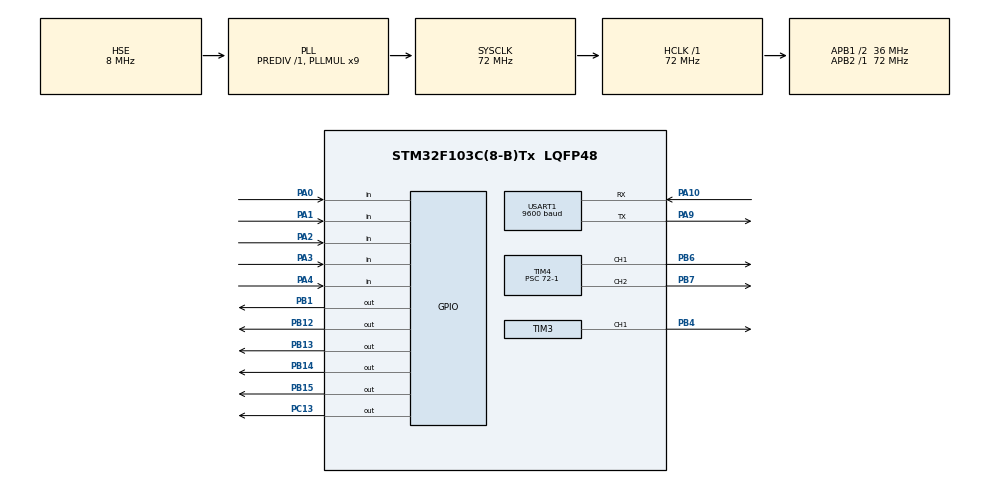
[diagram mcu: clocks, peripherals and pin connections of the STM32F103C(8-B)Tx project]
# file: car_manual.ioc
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Mcu.Family=STM32F1
Mcu.Name=STM32F103C(8-B)Tx
Mcu.Package=LQFP48
NVIC.PriorityGroup=NVIC_PRIORITYGROUP_4
NVIC.TIM2_IRQn=true\:0\:0\:false\:false\:true\:true\:true\:true
NVIC.TIM3_IRQn=true\:0\:0\:false\:false\:true\:true\:true\:true
NVIC.USART1_IRQn=true\:0\:0\:false\:false\:true\:true\:true\:true
PA0-WKUP.Signal=GPIO_Input
PA1.Signal=GPIO_Input
PA10.Mode=Asynchronous
PA10.Signal=USART1_RX
PA13.Mode=Serial_Wire
PA13.Signal=SYS_JTMS-SWDIO
PA14.Mode=Serial_Wire
PA14.Signal=SYS_JTCK-SWCLK
PA2.Signal=GPIO_Input
PA3.Signal=GPIO_Input
PA4.Signal=GPIO_Input
PA9.Mode=Asynchronous
PA9.Signal=USART1_TX
PB1.Signal=GPIO_Output
PB12.Signal=GPIO_Output
PB13.Signal=GPIO_Output
PB14.Signal=GPIO_Output
PB15.Signal=GPIO_Output
PB4.Signal=S_TIM3_CH1
PB6.Signal=S_TIM4_CH1
PB7.Signal=S_TIM4_CH2
PC13-TAMPER-RTC.Signal=GPIO_Output
PD0-OSC_IN.Mode=HSE-External-Oscillator
PD0-OSC_IN.Signal=RCC_OSC_IN
PD1-OSC_OUT.Mode=HSE-External-Oscillator
PD1-OSC_OUT.Signal=RCC_OSC_OUT
ProjectManager.HeapSize=0x200
ProjectManager.StackSize=0x400
ProjectManager.TargetToolchain=STM32CubeIDE
RCC.AHBFreq_Value=72000000
RCC.APB1CLKDivider=RCC_HCLK_DIV2
RCC.APB1Freq_Value=36000000
RCC.APB1TimFreq_Value=72000000
RCC.APB2Freq_Value=72000000
RCC.APB2TimFreq_Value=72000000
RCC.HCLKFreq_Value=72000000
RCC.PLLMUL=RCC_PLL_MUL9
RCC.PLLSourceVirtual=RCC_PLLSOURCE_HSE
RCC.SYSCLKFreq_VALUE=72000000
RCC.SYSCLKSource=RCC_SYSCLKSOURCE_PLLCLK
RCC.USBFreq_Value=72000000
SH.S_TIM3_CH1.0=TIM3_CH1,PWM Generation1 CH1
SH.S_TIM4_CH1.0=TIM4_CH1,PWM Generation1 CH1
SH.S_TIM4_CH2.0=TIM4_CH2,PWM Generation2 CH2
TIM2.Period=499
TIM2.Prescaler=720-1
TIM3.Channel-PWM\ Generation1\ CH1=TIM_CHANNEL_1
TIM3.Period=20000-1
TIM3.Prescaler=72-1
TIM4.Channel-PWM\ Generation1\ CH1=TIM_CHANNEL_1
TIM4.Channel-PWM\ Generation2\ CH2=TIM_CHANNEL_2
TIM4.Period=100-1
TIM4.Prescaler=72-1
USART1.BaudRate=9600
USART1.VirtualMode=VM_ASYNC
VP_TIM2_VS_ClockSourceINT.Mode=Internal
VP_TIM3_VS_ClockSourceINT.Mode=Internal
board=custom

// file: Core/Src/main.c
/* USER CODE BEGIN Header */
/**
  ******************************************************************************
  * @file           : main.c
  * @brief          : Main program body for line-following robot
  ******************************************************************************
  * @attention
  *
  * Copyright (c) 2025 STMicroelectronics.
  * All rights reserved.
  *
  * This software is licensed under terms that can be found in the LICENSE file
  * in the root directory of this software component.
  * If no LICENSE file comes with this software component, it is provided AS-IS.
  *
  ******************************************************************************
  */
/* USER CODE END Header */
#include "main.h"

/* USER CODE BEGIN Includes */
#include <math.h>

/* USER CODE END Includes */

/* USER CODE BEGIN PD */
#define SENSOR_COUNT 5
#define MAX_SPEED 100    // Maximum speed
/* USER CODE END PD */

TIM_HandleTypeDef htim2;
TIM_HandleTypeDef htim3;
TIM_HandleTypeDef htim4;

UART_HandleTypeDef huart1;

/* USER CODE BEGIN PV */
int weights[5] = {-4, -2, 0, 2, 4}; // Define weights (in mm) for 5 sensors: left to right
float Kp = 2.5;                     // Proportional gain
float Ki = 0.001;                     // Integral gain
float Kd = 0.5;                    // Derivative gain
float dt = 0.005;                   // Time delta (seconds) — adjust to your system
float d = 10.0;                     // Distance between position readings (in mm)
float previous_error = 0;           // Previous error for derivative control
float integral = 0;                 // Accumulated error for integral control
float previous_position = 0;        // Previous position for heading angle
int intersection_count=0;
int grab_count=0;
int has_grabbed = 0; // Global flag to track if grab has occurred
int current_case = 0; // 0 = Case 0, 1 = Case 1, 2 = Case 2, etc.
int sensor_count = 0; // Count how many times all 5 sensors are detected in Case 1

uint8_t sensor_values[SENSOR_COUNT]; // Array to store sensor readings

float x =0;//lateral position
float u =0; //control output
int pwmL =0;
int pwmR=0;
int basespeed=0;

int j=0; // Line-loss

// UART-related variables
uint8_t rx_data;         // Received UART data
uint8_t last_command = 0;// Last received command

uint8_t uto = 'U';       // Mode control: 'U' for auto, 'u' for manual
char grip = 0;           // Gripper state: 'W' for close, 'w' for open
int speed_level = 7;     // Speed level (0-9) for manual mode

static int case1_delay_count = 0;
static int case2_stopped = 0;
static int case2_ignore_count = 0;
static int case2_post_stop_state = 0;
static int case2_post_action_count = 0;
static int case3_has_grabbed = 0;
static int turn_state = 0;
static int turn_count = 0;
static int case3_stopped = 0;
static int case3_ignore_count = 0;
static int case3_post_stop_state = 0;
static int case3_post_action_count = 0;

int caseF_active = 0;     // Flag to track if CaseF is active
int caseF_end_condition = 0; // Flag to track when CaseF should end

// New global variables for Case0 forward push
int case0_initial_push_count = 0; // Counter for initial forward push in Case0
int case0_initial_push_done = 0;  // Flag to track if initial push is complete in Case0

// New global variable for Case1 forward push
int case1_push_after_grab_done = 0; // Flag to track if forward push after grab is done

// New global variable for Case3 forward push
int case3_push_after_grab_count = 0; // Counter for forward push after grab in Case3

int case2_reset_active = 0; // Flag to track if Case2Reset is active

/* USER CODE END PV */

void SystemClock_Config(void);
static void MX_GPIO_Init(void);
static void MX_TIM4_Init(void);
static void MX_USART1_UART_Init(void);
static void MX_TIM3_Init(void);
static void MX_TIM2_Init(void);
/* USER CODE BEGIN PFP */
void set_left_motor(int speed);
void set_right_motor(int speed);
void read_sensors();
float compute_position();
float compute_pid(float error);
float compute_heading(float x_now);
void Set_Servo_Angle(uint8_t angle);
void motor_ctr(int speedL, int speedR);
void followLine(void);
void followLine_Case0(void);
void followLine_Case1(void);
void followLine_Case2(void);
void followLine_Case3(void);
/* USER CODE END PFP */

/* USER CODE BEGIN 0 */
void Set_Servo_Angle(uint8_t angle)
{
  // Map 0–180° to 500–2500us (pulse width in timer counts)
  uint16_t pulse_width = 500 + ((angle * 2000) / 180);
  __HAL_TIM_SET_COMPARE(&htim3, TIM_CHANNEL_1, pulse_width);  // Set PWM pulse width
}

/* USER CODE END 0 */

int main(void)
{

  /* MCU Configuration--------------------------------------------------------*/

  /* Reset of all peripherals, Initializes the Flash interface and the Systick. */
  HAL_Init();

  /* Configure the system clock */
  SystemClock_Config();

  /* Initialize all configured peripherals */
  MX_GPIO_Init();
  MX_TIM4_Init();
  MX_USART1_UART_Init();
  MX_TIM3_Init();
  MX_TIM2_Init();
  /* USER CODE BEGIN 2 */
  HAL_TIM_PWM_Start(&htim4, TIM_CHANNEL_1);
  HAL_TIM_PWM_Start(&htim4, TIM_CHANNEL_2);
  HAL_TIM_PWM_Start(&htim3, TIM_CHANNEL_1); // Start PWM for servo

  HAL_TIM_Base_Start_IT(&htim2);
  HAL_UART_Receive_IT(&huart1, &rx_data, 1); // Enable UART interrupt
  HAL_GPIO_WritePin(GPIOB, GPIO_PIN_1, 1);
  /* USER CODE END 2 */

  /* Infinite loop */
  while (1)
  {

  }
}

void SystemClock_Config(void)
{
  RCC_OscInitTypeDef RCC_OscInitStruct = {0};
  RCC_ClkInitTypeDef RCC_ClkInitStruct = {0};

  /** Initializes the RCC Oscillators according to the specified parameters
  * in the RCC_OscInitTypeDef structure.
  */
  RCC_OscInitStruct.OscillatorType = RCC_OSCILLATORTYPE_HSE;
  RCC_OscInitStruct.HSEState = RCC_HSE_ON;
  RCC_OscInitStruct.HSEPredivValue = RCC_HSE_PREDIV_DIV1;
  RCC_OscInitStruct.HSIState = RCC_HSI_ON;
  RCC_OscInitStruct.PLL.PLLState = RCC_PLL_ON;
  RCC_OscInitStruct.PLL.PLLSource = RCC_PLLSOURCE_HSE;
  RCC_OscInitStruct.PLL.PLLMUL = RCC_PLL_MUL9;
  if (HAL_RCC_OscConfig(&RCC_OscInitStruct) != HAL_OK)
  {
    Error_Handler();
  }

  /** Initializes the CPU, AHB and APB buses clocks
  */
  RCC_ClkInitStruct.ClockType = RCC_CLOCKTYPE_HCLK|RCC_CLOCKTYPE_SYSCLK
                              |RCC_CLOCKTYPE_PCLK1|RCC_CLOCKTYPE_PCLK2;
  RCC_ClkInitStruct.SYSCLKSource = RCC_SYSCLKSOURCE_PLLCLK;
  RCC_ClkInitStruct.AHBCLKDivider = RCC_SYSCLK_DIV1;
  RCC_ClkInitStruct.APB1CLKDivider = RCC_HCLK_DIV2;
  RCC_ClkInitStruct.APB2CLKDivider = RCC_HCLK_DIV1;

  if (HAL_RCC_ClockConfig(&RCC_ClkInitStruct, FLASH_LATENCY_2) != HAL_OK)
  {
    Error_Handler();
  }
}

static void MX_TIM2_Init(void)
{

  TIM_ClockConfigTypeDef sClockSourceConfig = {0};
  TIM_MasterConfigTypeDef sMasterConfig = {0};

  htim2.Instance = TIM2;
  htim2.Init.Prescaler = 720-1;
  htim2.Init.CounterMode = TIM_COUNTERMODE_UP;
  htim2.Init.Period = 499;
  htim2.Init.ClockDivision = TIM_CLOCKDIVISION_DIV1;
  htim2.Init.AutoReloadPreload = TIM_AUTORELOAD_PRELOAD_DISABLE;
  if (HAL_TIM_Base_Init(&htim2) != HAL_OK)
  {
    Error_Handler();
  }
  sClockSourceConfig.ClockSource = TIM_CLOCKSOURCE_INTERNAL;
  if (HAL_TIM_ConfigClockSource(&htim2, &sClockSourceConfig) != HAL_OK)
  {
    Error_Handler();
  }
  sMasterConfig.MasterOutputTrigger = TIM_TRGO_RESET;
  sMasterConfig.MasterSlaveMode = TIM_MASTERSLAVEMODE_DISABLE;
  if (HAL_TIMEx_MasterConfigSynchronization(&htim2, &sMasterConfig) != HAL_OK)
  {
    Error_Handler();
  }

}

static void MX_TIM3_Init(void)
{

  TIM_ClockConfigTypeDef sClockSourceConfig = {0};
  TIM_MasterConfigTypeDef sMasterConfig = {0};
  TIM_OC_InitTypeDef sConfigOC = {0};

  htim3.Instance = TIM3;
  htim3.Init.Prescaler = 72-1;
  htim3.Init.CounterMode = TIM_COUNTERMODE_UP;
  htim3.Init.Period = 20000-1;
  htim3.Init.ClockDivision = TIM_CLOCKDIVISION_DIV1;
  htim3.Init.AutoReloadPreload = TIM_AUTORELOAD_PRELOAD_DISABLE;
  if (HAL_TIM_Base_Init(&htim3) != HAL_OK)
  {
    Error_Handler();
  }
  sClockSourceConfig.ClockSource = TIM_CLOCKSOURCE_INTERNAL;
  if (HAL_TIM_ConfigClockSource(&htim3, &sClockSourceConfig) != HAL_OK)
  {
    Error_Handler();
  }
  if (HAL_TIM_PWM_Init(&htim3) != HAL_OK)
  {
    Error_Handler();
  }
  sMasterConfig.MasterOutputTrigger = TIM_TRGO_RESET;
  sMasterConfig.MasterSlaveMode = TIM_MASTERSLAVEMODE_DISABLE;
  if (HAL_TIMEx_MasterConfigSynchronization(&htim3, &sMasterConfig) != HAL_OK)
  {
    Error_Handler();
  }
  sConfigOC.OCMode = TIM_OCMODE_PWM1;
  sConfigOC.Pulse = 0;
  sConfigOC.OCPolarity = TIM_OCPOLARITY_HIGH;
  sConfigOC.OCFastMode = TIM_OCFAST_DISABLE;
  if (HAL_TIM_PWM_ConfigChannel(&htim3, &sConfigOC, TIM_CHANNEL_1) != HAL_OK)
  {
    Error_Handler();
  }
  HAL_TIM_MspPostInit(&htim3);

}

static void MX_TIM4_Init(void)
{

  TIM_MasterConfigTypeDef sMasterConfig = {0};
  TIM_OC_InitTypeDef sConfigOC = {0};

  htim4.Instance = TIM4;
  htim4.Init.Prescaler = 72-1;
  htim4.Init.CounterMode = TIM_COUNTERMODE_UP;
  htim4.Init.Period = 100-1;
  htim4.Init.ClockDivision = TIM_CLOCKDIVISION_DIV1;
  htim4.Init.AutoReloadPreload = TIM_AUTORELOAD_PRELOAD_DISABLE;
  if (HAL_TIM_PWM_Init(&htim4) != HAL_OK)
  {
    Error_Handler();
  }
  sMasterConfig.MasterOutputTrigger = TIM_TRGO_RESET;
  sMasterConfig.MasterSlaveMode = TIM_MASTERSLAVEMODE_DISABLE;
  if (HAL_TIMEx_MasterConfigSynchronization(&htim4, &sMasterConfig) != HAL_OK)
  {
    Error_Handler();
  }
  sConfigOC.OCMode = TIM_OCMODE_PWM1;
  sConfigOC.Pulse = 0;
  sConfigOC.OCPolarity = TIM_OCPOLARITY_HIGH;
  sConfigOC.OCFastMode = TIM_OCFAST_DISABLE;
  if (HAL_TIM_PWM_ConfigChannel(&htim4, &sConfigOC, TIM_CHANNEL_1) != HAL_OK)
  {
    Error_Handler();
  }
  if (HAL_TIM_PWM_ConfigChannel(&htim4, &sConfigOC, TIM_CHANNEL_2) != HAL_OK)
  {
    Error_Handler();
  }
  HAL_TIM_MspPostInit(&htim4);

}

static void MX_USART1_UART_Init(void)
{

  huart1.Instance = USART1;
  huart1.Init.BaudRate = 9600;
  huart1.Init.WordLength = UART_WORDLENGTH_8B;
  huart1.Init.StopBits = UART_STOPBITS_1;
  huart1.Init.Parity = UART_PARITY_NONE;
  huart1.Init.Mode = UART_MODE_TX_RX;
  huart1.Init.HwFlowCtl = UART_HWCONTROL_NONE;
  huart1.Init.OverSampling = UART_OVERSAMPLING_16;
  if (HAL_UART_Init(&huart1) != HAL_OK)
  {
    Error_Handler();
  }

}

static void MX_GPIO_Init(void)
{
  GPIO_InitTypeDef GPIO_InitStruct = {0};

  /* GPIO Ports Clock Enable */
  __HAL_RCC_GPIOC_CLK_ENABLE();
  __HAL_RCC_GPIOD_CLK_ENABLE();
  __HAL_RCC_GPIOA_CLK_ENABLE();
  __HAL_RCC_GPIOB_CLK_ENABLE();

  /*Configure GPIO pin Output Level */
  HAL_GPIO_WritePin(GPIOC, GPIO_PIN_13, GPIO_PIN_RESET);

  /*Configure GPIO pin Output Level */
  HAL_GPIO_WritePin(GPIOB, GPIO_PIN_1|GPIO_PIN_12|GPIO_PIN_13|GPIO_PIN_14
                          |GPIO_PIN_15, GPIO_PIN_RESET);

  /*Configure GPIO pin : PC13 */
  GPIO_InitStruct.Pin = GPIO_PIN_13;
  GPIO_InitStruct.Mode = GPIO_MODE_OUTPUT_PP;
  GPIO_InitStruct.Pull = GPIO_NOPULL;
  GPIO_InitStruct.Speed = GPIO_SPEED_FREQ_LOW;
  HAL_GPIO_Init(GPIOC, &GPIO_InitStruct);

  /*Configure GPIO pins : PA0 PA1 PA2 PA3
                           PA4 */
  GPIO_InitStruct.Pin = GPIO_PIN_0|GPIO_PIN_1|GPIO_PIN_2|GPIO_PIN_3
                          |GPIO_PIN_4;
  GPIO_InitStruct.Mode = GPIO_MODE_INPUT;
  GPIO_InitStruct.Pull = GPIO_NOPULL;
  HAL_GPIO_Init(GPIOA, &GPIO_InitStruct);

  /*Configure GPIO pins : PB1 PB12 PB13 PB14
                           PB15 */
  GPIO_InitStruct.Pin = GPIO_PIN_1|GPIO_PIN_12|GPIO_PIN_13|GPIO_PIN_14
                          |GPIO_PIN_15;
  GPIO_InitStruct.Mode = GPIO_MODE_OUTPUT_PP;
  GPIO_InitStruct.Pull = GPIO_NOPULL;
  GPIO_InitStruct.Speed = GPIO_SPEED_FREQ_LOW;
  HAL_GPIO_Init(GPIOB, &GPIO_InitStruct);

}

/* USER CODE BEGIN 4 */
/**
  * @brief Set speed and direction for the left motor
  * @param speed: Speed value (-95 to 95). Positive for forward, negative for backward.
  * @retval None
  */
void set_left_motor(int speed)
{
  speed = (speed > MAX_SPEED) ? MAX_SPEED : (speed < -MAX_SPEED/2) ? -MAX_SPEED/2 : speed;
  TIM4->CCR2 = (speed >= 0) ? (uint32_t)speed : (uint32_t)(-speed);
  HAL_GPIO_WritePin(GPIOB, GPIO_PIN_12, (speed > 0) ? GPIO_PIN_SET : GPIO_PIN_RESET);
  HAL_GPIO_WritePin(GPIOB, GPIO_PIN_13, (speed < 0) ? GPIO_PIN_SET : GPIO_PIN_RESET);
}

/**
  * @brief Set speed and direction for the right motor
  * @param speed: Speed value (-95 to 95). Positive for forward, negative for backward.
  * @retval None
  */
void set_right_motor(int speed)
{
  speed = (speed > MAX_SPEED) ? MAX_SPEED : (speed < -MAX_SPEED/2) ? -MAX_SPEED/2 : speed;
  TIM4->CCR1 = (speed >= 0) ? (uint32_t)speed : (uint32_t)(-speed);
  HAL_GPIO_WritePin(GPIOB, GPIO_PIN_14, (speed > 0) ? GPIO_PIN_SET : GPIO_PIN_RESET);
  HAL_GPIO_WritePin(GPIOB, GPIO_PIN_15, (speed < 0) ? GPIO_PIN_SET : GPIO_PIN_RESET);
}

void motor_ctr(int speedL, int speedR)
{
  set_right_motor(speedR);
  set_left_motor(speedL);
}

/**
  * @brief Read sensor states
  * @retval None
  */
void read_sensors(void)
{
  sensor_values[0] = !HAL_GPIO_ReadPin(GPIOA, GPIO_PIN_0);
  sensor_values[1] = !HAL_GPIO_ReadPin(GPIOA, GPIO_PIN_1);
  sensor_values[2] = !HAL_GPIO_ReadPin(GPIOA, GPIO_PIN_2);
  sensor_values[3] = !HAL_GPIO_ReadPin(GPIOA, GPIO_PIN_3);
  sensor_values[4] = !HAL_GPIO_ReadPin(GPIOA, GPIO_PIN_4);

  if (sensor_values[0] == 1) {
    j = 1;
  }
  else if (sensor_values[4] == 1) {
    j = 2;
  }

  if (j == 1) {
    sensor_values[0] = 1;
  }
  else if (j == 2) {
    sensor_values[4] = 1;
  }
  if (sensor_values[1] == 1 || sensor_values[2] == 1 || sensor_values[3] == 1) {
    j = 0;
  }
}

/**
  * @brief Compute lateral position
  * @retval float: Position in mm
  */
float compute_position()
{
  int sum_s = 0;
  int weighted_sum = 0;

  for (int i = 0; i < 5; i++) {
    sum_s += sensor_values[i];
    weighted_sum += sensor_values[i] * weights[i];
  }

  if (sum_s == 0)
    return 0.0; // No line detected, assume center or trigger fail-safe

  return (float)weighted_sum / sum_s;
}

/**
  * @brief Compute PID control output
  * @param error: Current error
  * @retval float: PID control output
  */
float compute_pid(float error)
{
  integral += error * dt;
  float derivative = (error - previous_error) / dt;
  float output = Kp * error + Ki * integral + Kd * derivative;
  previous_error = error;
  return output;
}

/**
  * @brief Compute heading angle
  * @param x_now: Current position
  * @retval float: Heading angle in radians
  */
float compute_heading(float x_now)
{
  float Q = (x_now - previous_position) / d;
  previous_position = x_now;
  return Q; // in radians (approximation)
}

void followLine(void)
{
  x = compute_position();
  u = compute_pid(x);
  if (fabs(x) < 1) {
    basespeed = 55;
  }
  else if (fabs(x) <= 2) {
    basespeed = 40;
  }
  else if (fabs(x) <= 4) {
    basespeed = 20;
  }
  pwmL = basespeed + u;
  pwmR = basespeed - u;
  motor_ctr(pwmL, pwmR);
}

void followLine_Case0(void)
{

	Set_Servo_Angle(40);

	// Step 2: Initial forward push for 200ms (40 cycles at 5ms)
	    if (!case0_initial_push_done) {
	        pwmL = 50; // Fixed speed for forward push
	        pwmR = 50;
	        motor_ctr(pwmL, pwmR);
	        case0_initial_push_count++;
	        if (case0_initial_push_count >= 40) { // 200ms / 5ms = 40 cycles
	            case0_initial_push_done = 1; // Mark push as complete
	            case0_initial_push_count = 0; // Reset counter for potential reuse
	        }
	        return; // Exit function until push is complete
	    }

  x = compute_position();
  u = compute_pid(x);
  if (fabs(x) < 1) {
    basespeed = 55;
  } else if (fabs(x) <= 2) {
    basespeed = 37;
  } else if (fabs(x) <= 4) {
    basespeed = 25
    		;
  }

  int sensor_sum = sensor_values[0] + sensor_values[1] + sensor_values[2] + sensor_values[3] + sensor_values[4];
  if (!has_grabbed) {
    if (sensor_values[0] == 1 && sensor_values[1] == 1 && sensor_values[2] == 1 && sensor_values[3] == 1) {
      Set_Servo_Angle(0); // Grab to 0°
      has_grabbed = 1;    // Prevent further servo commands
      current_case = 1;
    } else if (sensor_values[4] == 1 && sensor_values[3] == 1 && sensor_values[2] == 1 && sensor_values[1] == 1) {
      Set_Servo_Angle(0); // Grab to 0°
      has_grabbed = 1;    // Prevent further servo commands
      current_case = 1;
    } else if (sensor_sum == 5 && sensor_values[2] == 1) { // Ensure center sensor is off too
      Set_Servo_Angle(0); // Grab to 0°
      has_grabbed = 1;    // Prevent further servo commands
      current_case = 1;
    }
  }

  pwmL = basespeed + u;
  pwmR = basespeed - u;
  motor_ctr(pwmL, pwmR);
}

void followLine_Case1(void)
{

  // Set new PID values for Case 1
  Kp = 15;
  Ki = 0.0;
  Kd = 0.0;
  // Reset PID state
  integral = 0;
  previous_error = 0;

  // Step 1: Forward push for 200ms (40 cycles at 5ms) after grabbing
      if (!case1_push_after_grab_done) {
          if (case1_delay_count < 110) {
              pwmL = 30; // Fixed speed for forward push
              pwmR = 30;
              motor_ctr(pwmL, pwmR);
              case1_delay_count++;
              return; // Exit until push is complete
          } else {
              case1_push_after_grab_done = 1; // Mark push as complete
              case1_delay_count = 0; // Reset counter for next phase
          }
      }

  x = compute_position();
  u = compute_pid(x);
  if (fabs(x) < 1) {
    basespeed = 40;
  } else if (fabs(x) <= 2) {
    basespeed = 38;
  } else if (fabs(x) <= 4) {
    basespeed = 40;
  }

  int sensor_sum = sensor_values[0] + sensor_values[1] + sensor_values[2] + sensor_values[3] + sensor_values[4];

  // Ignore sensor_sum == 5 for 500ms (100 cycles * 5ms)
  if (case1_delay_count < 100) {
	  case1_delay_count++;
  } else if (sensor_sum == 4) {
    current_case = 2;  // Move to Case 2 when all sensors detect the line
  }

  pwmL = basespeed + u;
  pwmR = basespeed - u;
  motor_ctr(pwmL, pwmR);
}

// Modified followLine_Case2 function
void followLine_Case2(void)
{
  if (!case2_stopped) {
    Kp = 2.5;
    Ki = 0.0;
    Kd = 0.0;
    integral = 0;
    previous_error = 0;

    x = compute_position();
    u = compute_pid(x);
    if (fabs(x) < 1) {
      basespeed = 40;
    } else if (fabs(x) <= 2) {
      basespeed = 40;
    } else if (fabs(x) <= 4) {
      basespeed = 40;
    }

    int sensor_sum = sensor_values[0] + sensor_values[1] + sensor_values[2] + sensor_values[3] + sensor_values[4];

    if (case2_ignore_count < 40) {
      case2_ignore_count++;
      pwmL = basespeed + u;
      pwmR = basespeed - u;
      motor_ctr(pwmL, pwmR);
    } else {
      if (sensor_sum == 5 && !case2_stopped) {
        case2_stopped = 1;
        pwmL = 0;
        pwmR = 0;
        motor_ctr(pwmL, pwmR);
        case2_post_stop_state = 1;
        case2_post_action_count = 0;
      } else if (!case2_stopped) {
        pwmL = basespeed + u;
        pwmR = basespeed - u;
        motor_ctr(pwmL, pwmR);
      }
    }
  } else {
    if (case2_post_stop_state == 1) {
      pwmL = 25;
      pwmR = 25;
      motor_ctr(pwmL, pwmR);
      case2_post_action_count++;
      if (case2_post_action_count >= 70) {
        case2_post_stop_state = 2;
        case2_post_action_count = 0;
        pwmL = 0;
        pwmR = 0;
        motor_ctr(pwmL, pwmR);
      }
    } else if (case2_post_stop_state == 2) {
      Set_Servo_Angle(40);
      case2_post_action_count++;
      if (case2_post_action_count >= 20) {
        case2_post_stop_state = 3;
        case2_post_action_count = 0;
      }
    } else if (case2_post_stop_state == 3) {
      pwmL = -35;
      pwmR = -35;
      motor_ctr(pwmL, pwmR);
      case2_post_action_count++;
      if (case2_post_action_count >= 145) {
        case2_post_stop_state = 4;
        case2_post_action_count = 0;
        pwmL = 0;
        pwmR = 0;
        motor_ctr(pwmL, pwmR);
      }
    } else if (case2_post_stop_state == 4) {
      pwmL = 70;
      pwmR = 30;
      motor_ctr(pwmL, pwmR);
      case2_post_action_count++;
      if (case2_post_action_count >= 100) {
        case2_post_stop_state = 5;
        current_case = 3;
        pwmL = 0;
        pwmR = 0;
        motor_ctr(pwmL, pwmR);
      }
    }
  }
}

void followLine_Case2Reset(void)
{
//	Set_Servo_Angle(0);
  if (!case2_stopped) {
    Kp = 2.5;
    Ki = 0.0;
    Kd = 0.0;
    integral = 0;
    previous_error = 0;

    x = compute_position();
    u = compute_pid(x);
    if (fabs(x) < 1) {
      basespeed = 40;
    } else if (fabs(x) <= 2) {
      basespeed = 40;
    } else if (fabs(x) <= 4) {
      basespeed = 40;
    }

    int sensor_sum = sensor_values[0] + sensor_values[1] + sensor_values[2] + sensor_values[3] + sensor_values[4];

    if (case2_ignore_count < 50) {
      case2_ignore_count++;
      pwmL = basespeed + u;
      pwmR = basespeed - u;
      motor_ctr(pwmL, pwmR);
    } else {
      if (sensor_sum == 5 && !case2_stopped) {
        case2_stopped = 1;
        pwmL = 0;
        pwmR = 0;
        motor_ctr(pwmL, pwmR);
        case2_post_stop_state = 1;
        case2_post_action_count = 0;
      } else if (!case2_stopped) {
        pwmL = basespeed + u;
        pwmR = basespeed - u;
        motor_ctr(pwmL, pwmR);
      }
    }
  } else {
    if (case2_post_stop_state == 1) {
      pwmL = 25;
      pwmR = 25;
      motor_ctr(pwmL, pwmR);
      case2_post_action_count++;
      if (case2_post_action_count >= 70) {
        case2_post_stop_state = 2;
        case2_post_action_count = 0;
        pwmL = 0;
        pwmR = 0;
        motor_ctr(pwmL, pwmR);
      }
    } else if (case2_post_stop_state == 2) {
      Set_Servo_Angle(40);
      case2_post_action_count++;
      if (case2_post_action_count >= 20) {
        case2_post_stop_state = 3;
        case2_post_action_count = 0;
      }
    } else if (case2_post_stop_state == 3) {
      pwmL = -30;
      pwmR = -30;
      motor_ctr(pwmL, pwmR);
      case2_post_action_count++;
      if (case2_post_action_count >= 145) {
        case2_post_stop_state = 4;
        case2_post_action_count = 0;
        pwmL = 0;
        pwmR = 0;
        motor_ctr(pwmL, pwmR);
      }
    } else if (case2_post_stop_state == 4) {
      pwmL = 20;
      pwmR = -35;
      motor_ctr(pwmL, pwmR);
      case2_post_action_count++;
      if (case2_post_action_count >= 110) {
        case2_post_stop_state = 5;

        // Transition to Case 3 and reset Case2Reset flag
        current_case = 3;
        case2_reset_active = 0; // Clear the Case2Reset flag

        // Reset Case3 variables for fresh start
        case3_has_grabbed = 0;
        case3_push_after_grab_count = 0;

        pwmL = 0;
        pwmR = 0;
        motor_ctr(pwmL, pwmR);
      }
    }
  }
}
void followLine_Case3(void)
{
    if (!case3_stopped) {
        // Set PID values for normal line following
        Kp = 15;
        Ki = 0.0;
        Kd = 0.0;
        integral = 0;
        previous_error = 0;

        x = compute_position();
        u = compute_pid(x);
        if (fabs(x) < 1) {
            basespeed = 35;
        } else if (fabs(x) <= 2) {
            basespeed = 38;
        } else if (fabs(x) <= 4) {
            basespeed = 35;
        }

        int sensor_sum = sensor_values[0] + sensor_values[1] + sensor_values[2] + sensor_values[3] + sensor_values[4];

        // Ignore initial sensor readings for 250ms (50 cycles * 5ms)
        if (case3_ignore_count < 50) {
            case3_ignore_count++;
            pwmL = basespeed + u;
            pwmR = basespeed - u;
            motor_ctr(pwmL, pwmR);
        } else {
            // Check for 4 sensors detection after ignore period
            if (sensor_sum == 4 && !case3_stopped) {
                case3_stopped = 1;
                pwmL = 0;
                pwmR = 0;
                motor_ctr(pwmL, pwmR);
                case3_post_stop_state = 1;
                case3_post_action_count = 0;
            } else if (!case3_stopped) {
                // Continue normal line following
                pwmL = basespeed + u;
                pwmR = basespeed - u;
                motor_ctr(pwmL, pwmR);
            }
        }
    } else {
        // Handle post-stop actions sequentially
        if (case3_post_stop_state == 1) {
            // State 1: Brief stop for 100ms (20 cycles * 5ms)
            pwmL = 0;
            pwmR = 0;
            motor_ctr(pwmL, pwmR);
            case3_post_action_count++;
            if (case3_post_action_count >= 20) {
                case3_post_stop_state = 2;
                case3_post_action_count = 0;
            }
        } else if (case3_post_stop_state == 2) {
            // State 2: Left turn for 125ms (25 cycles * 5ms)
            pwmL = -35; // Left motor backward
            pwmR = 20;  // Right motor forward
            motor_ctr(pwmL, pwmR);
            case3_post_action_count++;
            if (case3_post_action_count >= 100) {
                case3_post_stop_state = 3;
                case3_post_action_count = 0;
            }
        } else if (case3_post_stop_state == 3) {
            // State 3: Final stop and transition to Case 4
            pwmL = 0;
            pwmR = 0;
            motor_ctr(pwmL, pwmR);
            case3_post_action_count++;
            if (case3_post_action_count >= 10) { // Brief final stop
                // Transition to Case 4
                current_case = 4;

                // Reset Case3 variables for potential future use
                case3_stopped = 0;
                case3_ignore_count = 0;
                case3_post_stop_state = 0;
                case3_post_action_count = 0;

                // Stop motors
                pwmL = 0;
                pwmR = 0;
                motor_ctr(pwmL, pwmR);
            }
        }
    }
}
void followLine_Case4(void)
{
    // Set new PID values for Case4
    Kp = 10;
    Ki = 0.0;
    Kd = 0.0;
    integral = 0;
    previous_error = 0;

    x = compute_position();
    u = compute_pid(x);
    if (fabs(x) < 1) {
        basespeed = 35; // Slower base speed
    } else if (fabs(x) <= 2) {
        basespeed = 35;
    } else if (fabs(x) <= 4) {
        basespeed = 35;
    }

    static int grab_state = 0;
    static int forward_count = 0;

    if (grab_state == 0) {
        int sensor_sum = sensor_values[0] + sensor_values[1] + sensor_values[2] + sensor_values[3] + sensor_values[4];
        if (sensor_sum == 5) {
            Set_Servo_Angle(0); // Grab
            grab_state = 1;
            forward_count = 0;
            pwmL = 20; // Start slow forward
            pwmR = 20;
        } else {
            pwmL = basespeed + u;
            pwmR = basespeed - u;
        }
    } else if (grab_state == 1) {
        pwmL = 30; // Slow forward
        pwmR = 30;
        motor_ctr(pwmL, pwmR);
        forward_count++;
        if (forward_count >= 500) { // 2 seconds (400 cycles * 5ms)
            grab_state = 2;
            pwmL = 0;
            pwmR = 0;
        }
    } else {
        pwmL = 0;
        pwmR = 0;
    }

    motor_ctr(pwmL, pwmR);
}

/* Complete the followLine_CaseF function */
void followLine_CaseF(void){
    // Set PID values for CaseF
    Kp = 18;
    Ki = 0.0;
    Kd = 0.0;
    integral = 0;
    previous_error = 0;

    // Read sensors and compute position
    x = compute_position();
    u = compute_pid(x);

    // Set speed based on position error
    if (fabs(x) < 1) {
        basespeed = 40;
    } else if (fabs(x) <= 2) {
        basespeed = 38;
    } else if (fabs(x) <= 4) {
        basespeed = 40;
    }

    // Calculate motor speeds
    pwmL = basespeed + u;
    pwmR = basespeed - u;
    motor_ctr(pwmL, pwmR);

    // Example end condition: when all sensors detect line (you can modify this)
    int sensor_sum = sensor_values[0] + sensor_values[1] + sensor_values[2] + sensor_values[3] + sensor_values[4];
    if (sensor_sum == 5) {
        caseF_end_condition = 1;  // Set flag to end CaseF
    }

    // Or add other end conditions as needed
    // For example, if no line is detected for a certain time:
    // if (sensor_sum == 0) {
    //     caseF_end_condition = 1;
    // }
}

// Modified execute_command function - FIXED VERSION
void execute_command(void)
{
  if (last_command != 0) {
    // Calculate basespeed properly - ensure it's always reasonable
    basespeed = (98 * speed_level) / 9;
    if (basespeed < 50) basespeed = 50; // Lower minimum for better control

    switch (last_command) {
      case 'F': motor_ctr(basespeed, basespeed); break;
      case 'B': motor_ctr(-basespeed, -basespeed); break;
      case 'L': motor_ctr(-basespeed, basespeed); break;
      case 'R': motor_ctr(basespeed, -basespeed); break;
      case 'G': motor_ctr(basespeed / 2, basespeed); break;
      case 'I': motor_ctr(basespeed, basespeed / 2); break;
      case 'H': motor_ctr(-basespeed / 2, -basespeed); break;
      case 'J': motor_ctr(-basespeed, -basespeed / 2); break;
      case 'S':
        motor_ctr(0, 0);
        last_command = 0; // Clear command after stop
        break;
      // Remove speed commands from here - they're handled in UART callback
      default:
        // Don't clear last_command for unknown commands - keep moving
        break;
    }
    // Don't automatically clear last_command - let it persist for continuous movement
  } else {
    motor_ctr(0, 0);  // Stop if no command
  }
}

/* Modified UART callback - add this to your existing HAL_UART_RxCpltCallback */
void HAL_UART_RxCpltCallback(UART_HandleTypeDef *huart)
{
    if (huart->Instance == USART1) {
        HAL_UART_Receive_IT(&huart1, &rx_data, 1); // Re-arm UART interrupt

        if (rx_data == 'W') {
            grip = 'W';          // Close gripper
            last_command = 0;
        }
        else if (rx_data == 'w') {
            grip = 'w';          // Open gripper
            last_command = 0;
        }
        else if (rx_data == 'X') {
            // Start Case2Reset when 'X' is received
            case2_reset_active = 1;
            current_case = 2; // Set to case 2 but will use Case2Reset
            uto = 'u'; // Set to auto mode
            last_command = 0;

            // Reset all Case2 variables for fresh start
            case2_stopped = 0;
            case2_ignore_count = 0;
            case2_post_stop_state = 0;
            case2_post_action_count = 0;

            // Reset PID
            integral = 0;
            previous_error = 0;
            j = 0;
        }
        else if (rx_data == 'V') {
            caseF_active = 1;
            caseF_end_condition = 0;
            uto = 'F';
            last_command = 0;
            integral = 0;
            previous_error = 0;
            j = 0;
            // Reset Case0 and Case1 variables
            case0_initial_push_count = 0;
            case0_initial_push_done = 0;
            case1_delay_count = 0;
            case1_push_after_grab_done = 0;
        }
        else if (rx_data == 'v') {
            caseF_active = 0;
            caseF_end_condition = 0;
            uto = 'U';
            last_command = 0;
            motor_ctr(0, 0);
            // Reset Case0 and Case1 variables
            case0_initial_push_count = 0;
            case0_initial_push_done = 0;
            case1_delay_count = 0;
            case1_push_after_grab_done = 0;
        }
        else if (rx_data == 'u') {
            uto = 'u';
            caseF_active = 0;
            case2_reset_active = 0; // Reset the Case2Reset flag
            last_command = 0;
            current_case = 0;
            has_grabbed = 0;
            sensor_count = 0;
            integral = 0;
            previous_error = 0;
            Kp = 2.5;
            Ki = 0.01;
            Kd = 5.0;
            j = 0;
            speed_level = 7;
            Set_Servo_Angle(40);
            case1_delay_count = 0;
            case2_stopped = 0;
            case2_ignore_count = 0;
            case2_post_stop_state = 0;
            case2_post_action_count = 0;
            case3_has_grabbed = 0;
            // Reset Case0 and Case1 variables
            case0_initial_push_count = 0;
            case0_initial_push_done = 0;
            case1_push_after_grab_done = 0;
        }
        else if (rx_data == 'U') {
            uto = 'U';
            caseF_active = 0;
            case2_reset_active = 0; // Reset the Case2Reset flag
            last_command = 0;
            // Reset Case0 and Case1 variables
            case0_initial_push_count = 0;
            case0_initial_push_done = 0;
            case1_delay_count = 0;
            case1_push_after_grab_done = 0;
        }
        else if (uto == 'U') {
            if (rx_data >= '0' && rx_data <= '9') {
                speed_level = rx_data - '0';
                if (speed_level > 9) speed_level = 9;
            }
            else if (rx_data == 'q') {
                speed_level--;
                if (speed_level < 0) speed_level = 0;
            }
            else {
                last_command = rx_data;
            }
        }
        else if (rx_data >= '0' && rx_data <= '9') {
            speed_level = rx_data - '0';
            if (speed_level > 9) speed_level = 9;
        }
        else if (rx_data == 'q') {
            speed_level--;
            if (speed_level < 0) speed_level = 0;
        }
    }
}

/* Modified Timer callback to handle Case2Reset */
void HAL_TIM_PeriodElapsedCallback(TIM_HandleTypeDef *htim)
{
    if (htim->Instance == TIM2) {
        if (uto == 'u') {
            // Auto mode - execute line-following cases
            read_sensors();  // Update sensor values
            if (current_case == 0) {
                followLine_Case0();
            } else if (current_case == 1) {
                followLine_Case1();
            } else if (current_case == 2) {
                // Check if we should use Case2Reset or normal Case2
                if (case2_reset_active) {
                    followLine_Case2Reset();
                } else {
                    followLine_Case2();
                }
            } else if (current_case == 3) {
                followLine_Case3();
            }
            else if (current_case == 4){
            	followLine_Case4();

            }
        }
        else if (uto == 'F') {
            // CaseF mode - execute CaseF line following
            read_sensors();      // Update sensor values
            followLine_CaseF();  // Execute CaseF

            // Check if CaseF should end and return to manual
            if (caseF_end_condition) {
                caseF_active = 0;
                caseF_end_condition = 0;
                uto = 'U';       // Return to manual mode
                last_command = 0;
                motor_ctr(0, 0); // Stop motors
            }
        }
        else if (uto == 'U') {
            // Manual mode
            execute_command();
        }

        // Handle gripper commands (works in all modes)
        if (grip == 'W') {
            Set_Servo_Angle(0);  // Close gripper
            grip = 0;            // Clear after execution
        }
        else if (grip == 'w') {
            Set_Servo_Angle(40); // Open gripper
            grip = 0;            // Clear after execution
        }
    }
}
/* USER CODE END 4 */

void Error_Handler(void)
{
  __disable_irq();
  while (1)
  {
  }
}
